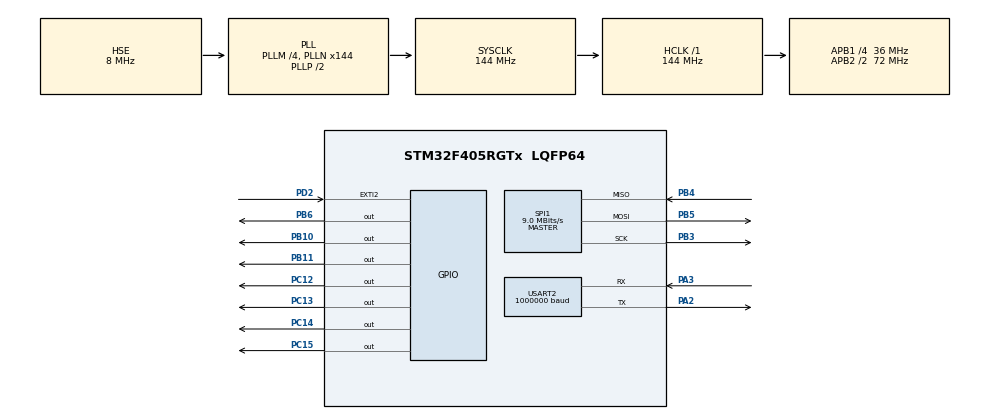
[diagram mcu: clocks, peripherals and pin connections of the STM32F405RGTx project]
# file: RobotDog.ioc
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FREERTOS.Tasks01=RobotCmd,0,128,robotcmd_task,Default,NULL,Dynamic,NULL,NULL;Imu,0,256,imu_task,Default,NULL,Dynamic,NULL,NULL;Body,0,512,body_task,Default,NULL,Dynamic,NULL,NULL;Head,0,512,head_task,Default,NULL,Dynamic,NULL,NULL;Remote,0,128,remote_task,Default,NULL,Dynamic,NULL,NULL
FREERTOS.Timers01=Led,led_timer,osTimerPeriodic,Default,NULL,Dynamic,NULL
FREERTOS.configTIMER_TASK_PRIORITY=3
FREERTOS.configUSE_TIMERS=1
Mcu.Family=STM32F4
Mcu.Name=STM32F405RGTx
Mcu.Package=LQFP64
NVIC.EXTI2_IRQn=true\:0\:0\:false\:false\:true\:false\:true
NVIC.PriorityGroup=NVIC_PRIORITYGROUP_4
NVIC.TIM7_IRQn=true\:0\:0\:false\:false\:true\:false\:false
NVIC.TimeBase=TIM7_IRQn
NVIC.TimeBaseIP=TIM7
PA13.Mode=Serial_Wire
PA13.Signal=SYS_JTMS-SWDIO
PA14.Mode=Serial_Wire
PA14.Signal=SYS_JTCK-SWCLK
PA2.Mode=Asynchronous
PA2.Signal=USART2_TX
PA3.Mode=Asynchronous
PA3.Signal=USART2_RX
PB10.GPIO_Speed=GPIO_SPEED_FREQ_VERY_HIGH
PB10.Signal=GPIO_Output
PB11.GPIO_Speed=GPIO_SPEED_FREQ_VERY_HIGH
PB11.Signal=GPIO_Output
PB3.Mode=Full_Duplex_Master
PB3.Signal=SPI1_SCK
PB4.Mode=Full_Duplex_Master
PB4.Signal=SPI1_MISO
PB5.Mode=Full_Duplex_Master
PB5.Signal=SPI1_MOSI
PB6.Signal=GPIO_Output
PC12.Signal=GPIO_Output
PC13-ANTI_TAMP.Signal=GPIO_Output
PC14-OSC32_IN.Signal=GPIO_Output
PC15-OSC32_OUT.Signal=GPIO_Output
PD2.Signal=GPXTI2
PH0-OSC_IN.Mode=HSE-External-Oscillator
PH0-OSC_IN.Signal=RCC_OSC_IN
PH1-OSC_OUT.Mode=HSE-External-Oscillator
PH1-OSC_OUT.Signal=RCC_OSC_OUT
ProjectManager.HeapSize=0x200
ProjectManager.StackSize=0x400
ProjectManager.TargetToolchain=MDK-ARM V5
RCC.48MHZClocksFreq_Value=72000000
RCC.AHBFreq_Value=144000000
RCC.APB1CLKDivider=RCC_HCLK_DIV4
RCC.APB1Freq_Value=36000000
RCC.APB1TimFreq_Value=72000000
RCC.APB2CLKDivider=RCC_HCLK_DIV2
RCC.APB2Freq_Value=72000000
RCC.APB2TimFreq_Value=144000000
RCC.CortexFreq_Value=144000000
RCC.HCLKFreq_Value=144000000
RCC.HSE_VALUE=8000000
RCC.HSI_VALUE=16000000
RCC.LSE_VALUE=32768
RCC.PLLM=4
RCC.PLLN=144
RCC.PLLSourceVirtual=RCC_PLLSOURCE_HSE
RCC.SYSCLKFreq_VALUE=144000000
RCC.SYSCLKSource=RCC_SYSCLKSOURCE_PLLCLK
RCC.VCOOutputFreq_Value=288000000
SPI1.BaudRatePrescaler=SPI_BAUDRATEPRESCALER_8
SPI1.CalculateBaudRate=9.0 MBits/s
SPI1.Direction=SPI_DIRECTION_2LINES
SPI1.Mode=SPI_MODE_MASTER
SPI1.VirtualType=VM_MASTER
USART2.BaudRate=1000000
USART2.VirtualMode=VM_ASYNC
VP_FREERTOS_VS_ENABLE.Mode=Enabled
VP_SYS_VS_tim7.Mode=TIM7
board=custom

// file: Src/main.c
/* USER CODE BEGIN Header */
/**
  ******************************************************************************
  * @file           : main.c
  * @brief          : Main program body
  ******************************************************************************
  * This notice applies to any and all portions of this file
  * that are not between comment pairs USER CODE BEGIN and
  * USER CODE END. Other portions of this file, whether
  * inserted by the user or by software development tools
  * are owned by their respective copyright owners.
  *
  * Copyright (c) 2019 STMicroelectronics International N.V.
  * All rights reserved.
  *
  * Redistribution and use in source and binary forms, with or without
  * modification, are permitted, provided that the following conditions are met:
  *
  * 1. Redistribution of source code must retain the above copyright notice,
  *    this list of conditions and the following disclaimer.
  * 2. Redistributions in binary form must reproduce the above copyright notice,
  *    this list of conditions and the following disclaimer in the documentation
  *    and/or other materials provided with the distribution.
  * 3. Neither the name of STMicroelectronics nor the names of other
  *    contributors to this software may be used to endorse or promote products
  *    derived from this software without specific written permission.
  * 4. This software, including modifications and/or derivative works of this
  *    software, must execute solely and exclusively on microcontroller or
  *    microprocessor devices manufactured by or for STMicroelectronics.
  * 5. Redistribution and use of this software other than as permitted under
  *    this license is void and will automatically terminate your rights under
  *    this license.
  *
  * THIS SOFTWARE IS PROVIDED BY STMICROELECTRONICS AND CONTRIBUTORS "AS IS"
  * AND ANY EXPRESS, IMPLIED OR STATUTORY WARRANTIES, INCLUDING, BUT NOT
  * LIMITED TO, THE IMPLIED WARRANTIES OF MERCHANTABILITY, FITNESS FOR A
  * PARTICULAR PURPOSE AND NON-INFRINGEMENT OF THIRD PARTY INTELLECTUAL PROPERTY
  * RIGHTS ARE DISCLAIMED TO THE FULLEST EXTENT PERMITTED BY LAW. IN NO EVENT
  * SHALL STMICROELECTRONICS OR CONTRIBUTORS BE LIABLE FOR ANY DIRECT, INDIRECT,
  * INCIDENTAL, SPECIAL, EXEMPLARY, OR CONSEQUENTIAL DAMAGES (INCLUDING, BUT NOT
  * LIMITED TO, PROCUREMENT OF SUBSTITUTE GOODS OR SERVICES; LOSS OF USE, DATA,
  * OR PROFITS; OR BUSINESS INTERRUPTION) HOWEVER CAUSED AND ON ANY THEORY OF
  * LIABILITY, WHETHER IN CONTRACT, STRICT LIABILITY, OR TORT (INCLUDING
  * NEGLIGENCE OR OTHERWISE) ARISING IN ANY WAY OUT OF THE USE OF THIS SOFTWARE,
  * EVEN IF ADVISED OF THE POSSIBILITY OF SUCH DAMAGE.
  *
  ******************************************************************************
  */
/* USER CODE END Header */

#include "main.h"
#include "cmsis_os.h"
#include "spi.h"
#include "usart.h"
#include "gpio.h"

void SystemClock_Config(void);
void MX_FREERTOS_Init(void);

int main(void)
{

  /* MCU Configuration--------------------------------------------------------*/

  /* Reset of all peripherals, Initializes the Flash interface and the Systick. */
  HAL_Init();

  /* Configure the system clock */
  SystemClock_Config();

  /* Initialize all configured peripherals */
  MX_GPIO_Init();
  MX_USART2_UART_Init();
  MX_SPI1_Init();

  /* Call init function for freertos objects (in freertos.c) */
  MX_FREERTOS_Init();

  /* Start scheduler */
  osKernelStart();

  /* We should never get here as control is now taken by the scheduler */

  /* Infinite loop */
  while (1)
  {

  }
}

void SystemClock_Config(void)
{
  RCC_OscInitTypeDef RCC_OscInitStruct = {0};
  RCC_ClkInitTypeDef RCC_ClkInitStruct = {0};

  /**Configure the main internal regulator output voltage
  */
  __HAL_RCC_PWR_CLK_ENABLE();
  __HAL_PWR_VOLTAGESCALING_CONFIG(PWR_REGULATOR_VOLTAGE_SCALE1);
  /**Initializes the CPU, AHB and APB busses clocks
  */
  RCC_OscInitStruct.OscillatorType = RCC_OSCILLATORTYPE_HSE;
  RCC_OscInitStruct.HSEState = RCC_HSE_ON;
  RCC_OscInitStruct.PLL.PLLState = RCC_PLL_ON;
  RCC_OscInitStruct.PLL.PLLSource = RCC_PLLSOURCE_HSE;
  RCC_OscInitStruct.PLL.PLLM = 4;
  RCC_OscInitStruct.PLL.PLLN = 144;
  RCC_OscInitStruct.PLL.PLLP = RCC_PLLP_DIV2;
  RCC_OscInitStruct.PLL.PLLQ = 4;
  if (HAL_RCC_OscConfig(&RCC_OscInitStruct) != HAL_OK)
  {
    Error_Handler();
  }
  /**Initializes the CPU, AHB and APB busses clocks
  */
  RCC_ClkInitStruct.ClockType = RCC_CLOCKTYPE_HCLK|RCC_CLOCKTYPE_SYSCLK
                              |RCC_CLOCKTYPE_PCLK1|RCC_CLOCKTYPE_PCLK2;
  RCC_ClkInitStruct.SYSCLKSource = RCC_SYSCLKSOURCE_PLLCLK;
  RCC_ClkInitStruct.AHBCLKDivider = RCC_SYSCLK_DIV1;
  RCC_ClkInitStruct.APB1CLKDivider = RCC_HCLK_DIV4;
  RCC_ClkInitStruct.APB2CLKDivider = RCC_HCLK_DIV2;

  if (HAL_RCC_ClockConfig(&RCC_ClkInitStruct, FLASH_LATENCY_4) != HAL_OK)
  {
    Error_Handler();
  }
}

void HAL_TIM_PeriodElapsedCallback(TIM_HandleTypeDef *htim)
{
  if (htim->Instance == TIM7) {
    HAL_IncTick();
  }
}

void Error_Handler(void)
{
}

/************************ (C) COPYRIGHT STMicroelectronics *****END OF FILE****/

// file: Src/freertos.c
/* USER CODE BEGIN Header */
/**
  ******************************************************************************
  * File Name          : freertos.c
  * Description        : Code for freertos applications
  ******************************************************************************
  * This notice applies to any and all portions of this file
  * that are not between comment pairs USER CODE BEGIN and
  * USER CODE END. Other portions of this file, whether
  * inserted by the user or by software development tools
  * are owned by their respective copyright owners.
  *
  * Copyright (c) 2019 STMicroelectronics International N.V.
  * All rights reserved.
  *
  * Redistribution and use in source and binary forms, with or without
  * modification, are permitted, provided that the following conditions are met:
  *
  * 1. Redistribution of source code must retain the above copyright notice,
  *    this list of conditions and the following disclaimer.
  * 2. Redistributions in binary form must reproduce the above copyright notice,
  *    this list of conditions and the following disclaimer in the documentation
  *    and/or other materials provided with the distribution.
  * 3. Neither the name of STMicroelectronics nor the names of other
  *    contributors to this software may be used to endorse or promote products
  *    derived from this software without specific written permission.
  * 4. This software, including modifications and/or derivative works of this
  *    software, must execute solely and exclusively on microcontroller or
  *    microprocessor devices manufactured by or for STMicroelectronics.
  * 5. Redistribution and use of this software other than as permitted under
  *    this license is void and will automatically terminate your rights under
  *    this license.
  *
  * THIS SOFTWARE IS PROVIDED BY STMICROELECTRONICS AND CONTRIBUTORS "AS IS"
  * AND ANY EXPRESS, IMPLIED OR STATUTORY WARRANTIES, INCLUDING, BUT NOT
  * LIMITED TO, THE IMPLIED WARRANTIES OF MERCHANTABILITY, FITNESS FOR A
  * PARTICULAR PURPOSE AND NON-INFRINGEMENT OF THIRD PARTY INTELLECTUAL PROPERTY
  * RIGHTS ARE DISCLAIMED TO THE FULLEST EXTENT PERMITTED BY LAW. IN NO EVENT
  * SHALL STMICROELECTRONICS OR CONTRIBUTORS BE LIABLE FOR ANY DIRECT, INDIRECT,
  * INCIDENTAL, SPECIAL, EXEMPLARY, OR CONSEQUENTIAL DAMAGES (INCLUDING, BUT NOT
  * LIMITED TO, PROCUREMENT OF SUBSTITUTE GOODS OR SERVICES; LOSS OF USE, DATA,
  * OR PROFITS; OR BUSINESS INTERRUPTION) HOWEVER CAUSED AND ON ANY THEORY OF
  * LIABILITY, WHETHER IN CONTRACT, STRICT LIABILITY, OR TORT (INCLUDING
  * NEGLIGENCE OR OTHERWISE) ARISING IN ANY WAY OUT OF THE USE OF THIS SOFTWARE,
  * EVEN IF ADVISED OF THE POSSIBILITY OF SUCH DAMAGE.
  *
  ******************************************************************************
  */
/* USER CODE END Header */

#include "FreeRTOS.h"
#include "task.h"
#include "main.h"
#include "cmsis_os.h"

/* USER CODE BEGIN Includes */
#include "mpu6050.h"
#include "scs009.h"
#include "remote.h"
#include "robotcmd.h"
#include "body_task.h"
#include "head_task.h"
/* USER CODE END Includes */

/* USER CODE BEGIN Variables */
int test_position = 500;
extern int gyroBiasFound;
/* USER CODE END Variables */
osThreadId RobotCmdHandle;
osThreadId ImuHandle;
osThreadId BodyHandle;
osThreadId HeadHandle;
osThreadId RemoteHandle;
osTimerId LedHandle;

void robotcmd_task(void const * argument);
void imu_task(void const * argument);
void body_task(void const * argument);
void head_task(void const * argument);
void remote_task(void const * argument);
void led_timer(void const * argument);

void MX_FREERTOS_Init(void); /* (MISRA C 2004 rule 8.1) */

void MX_FREERTOS_Init(void) {

  /* Create the timer(s) */
  /* definition and creation of Led */
  osTimerDef(Led, led_timer);
  LedHandle = osTimerCreate(osTimer(Led), osTimerPeriodic, NULL);

  /* USER CODE BEGIN RTOS_TIMERS */
  /* start timers, add new ones, ... */
	osTimerStart(LedHandle, 200);
  /* USER CODE END RTOS_TIMERS */

  /* Create the thread(s) */
  /* definition and creation of RobotCmd */
  osThreadDef(RobotCmd, robotcmd_task, osPriorityNormal, 0, 128);
  RobotCmdHandle = osThreadCreate(osThread(RobotCmd), NULL);

  /* definition and creation of Imu */
  osThreadDef(Imu, imu_task, osPriorityNormal, 0, 256);
  ImuHandle = osThreadCreate(osThread(Imu), NULL);

  /* definition and creation of Body */
  osThreadDef(Body, body_task, osPriorityNormal, 0, 512);
  BodyHandle = osThreadCreate(osThread(Body), NULL);

  /* definition and creation of Head */
  osThreadDef(Head, head_task, osPriorityNormal, 0, 512);
  HeadHandle = osThreadCreate(osThread(Head), NULL);

  /* definition and creation of Remote */
  osThreadDef(Remote, remote_task, osPriorityNormal, 0, 128);
  RemoteHandle = osThreadCreate(osThread(Remote), NULL);

}

void robotcmd_task(void const * argument)
{

  /* USER CODE BEGIN robotcmd_task */
  /* Infinite loop */
  for(;;)
  {
    LedStateChange();
		BodyParamChange();
		HeadStateChange();
		osDelay(1);
  }
  /* USER CODE END robotcmd_task */
}

void imu_task(void const * argument)
{
  /* USER CODE BEGIN imu_task */
	while(MPU6050_Init()){}
  /* Infinite loop */
  for(;;)
  {
		MPU6050_ReadData();
		imuDataHandle();
		if(gyroBiasFound)
		{
			imuUpdate(mpu6500.gyro);
			HAL_GPIO_WritePin(GPIOC, GPIO_PIN_15, GPIO_PIN_RESET);
		}
    osDelay(2);
  }
  /* USER CODE END imu_task */
}

void body_task(void const * argument)
{
  /* USER CODE BEGIN body_task */
	BodyInit();
  /* Infinite loop */
  for(;;)
  {
		BodyChange();
		LegChange();
    ServoSendData();
		osDelay(5);
  }
  /* USER CODE END body_task */
}

void head_task(void const * argument)
{
  /* USER CODE BEGIN head_task */
	HeadInit();
  /* Infinite loop */
  for(;;)
  {
    HeadChange();
		HeadCalc();
		HeadServoSendData();
		osDelay(5);
  }
  /* USER CODE END head_task */
}

void remote_task(void const * argument)
{
  /* USER CODE BEGIN remote_task */
	while(NRF24L01_Check()){};
	NRF24L01_RX_Mode();
  /* Infinite loop */
  for(;;)
  {
		RemoteReceive();
		osDelay(1);
  }
  /* USER CODE END remote_task */
}

/* led_timer function */
void led_timer(void const * argument)
{
  /* USER CODE BEGIN led_timer */
  HAL_GPIO_TogglePin(GPIOC, GPIO_PIN_13);
  /* USER CODE END led_timer */
}

/************************ (C) COPYRIGHT STMicroelectronics *****END OF FILE****/
